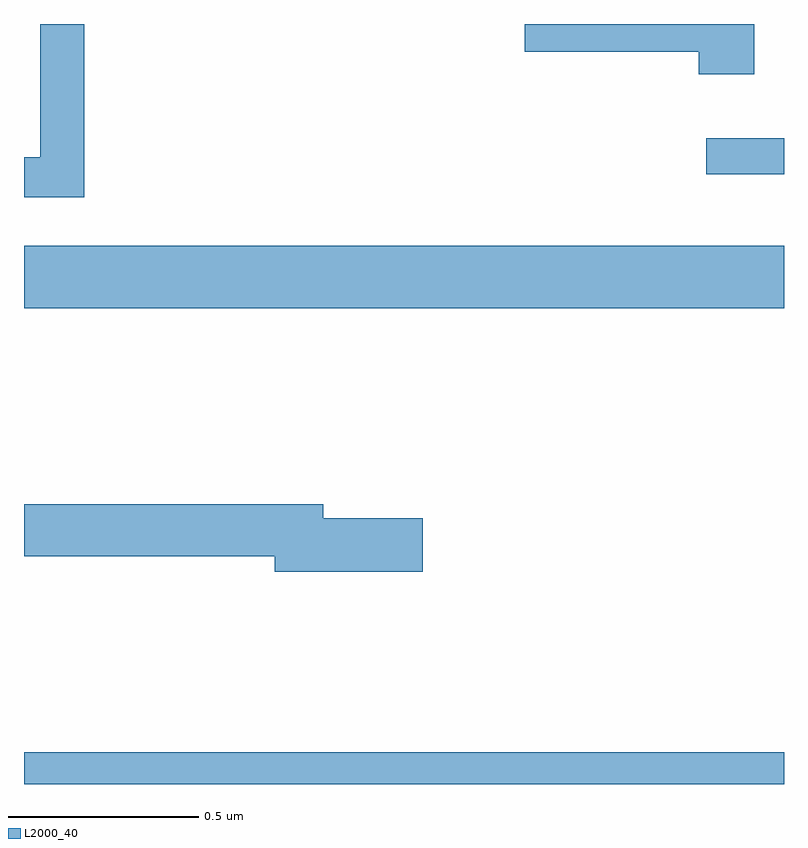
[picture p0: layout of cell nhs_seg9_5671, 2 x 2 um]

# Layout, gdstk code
import gdstk
lib = gdstk.Library(unit=1e-6, precision=1e-09)
def R(c, l, rs):  # rectangles x0, y0, x1, y1
    for r in rs: c.add(gdstk.rectangle(r[:2], r[2:], *l))
def P(c, l, *ps):  # polygons
    for p in ps: c.add(gdstk.Polygon(p, *l))
L2000_40 = (2000, 40)

nhs_seg9_5671 = lib.new_cell('nhs_seg9_5671')
R(nhs_seg9_5671, L2000_40, [(182,1196.5,184,1196.584), (182,1197.752,184,1197.916), (183.795,1198.104,184,1198.2)])
P(nhs_seg9_5671, L2000_40, [(183.922,1198.5),(183.318,1198.5),(183.318,1198.427),(183.776,1198.427),(183.776,1198.368),(183.922,1198.368)],
  [(182.159,1198.5),(182.043,1198.5),(182.043,1198.149),(182,1198.149),(182,1198.044),(182.159,1198.044)],
  [(183.049,1197.2),(182.788,1197.2),(182.788,1197.236),(182,1197.236),(182,1197.1),(182.66,1197.1),(182.66,1197.058),(183.049,1197.058)])

lib.write_gds('nhs_seg9_5671.gds')
